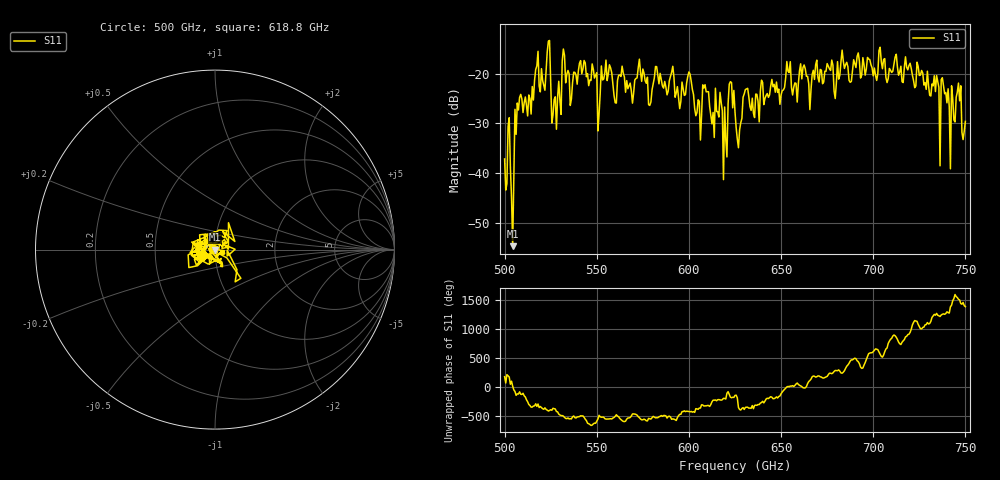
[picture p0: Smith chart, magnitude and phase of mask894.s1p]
!Created with skrf (http://scikit-rf.org).
# GHz S MA R 50.0
!freq magS11 angS11
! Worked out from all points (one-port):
!   401 points, 500 GHz to 750 GHz, reference 50 ohm
!   lowest |S11| = -54.7 dB at 504.4 GHz (marker M1), VSWR 1.00, Z = 50.2 + j0.0434 ohm
!   |S11| at or under -10 dB: start of sweep to end of sweep
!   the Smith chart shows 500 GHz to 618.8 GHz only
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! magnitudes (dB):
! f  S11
! 500 GHz  -37.2
! 504.4 GHz  -54.7
! 508.1 GHz  -24.8
! 523.8 GHz  -13.5
! 526.9 GHz  -25.2
! 531.2 GHz  -17.5
! 548.8 GHz  -20.9
! 550.6 GHz  -31.6
! 562.5 GHz  -20.3
! 590.6 GHz  -19.7
! 593.8 GHz  -22.6
! 600 GHz  -19.7
! 605.6 GHz  -25.6
! 608.8 GHz  -22.2
! 612.5 GHz  -30.1
! 616.9 GHz  -23.8
! 619.4 GHz  -26.7
! 623.1 GHz  -21.8
! 625 GHz  -27.7
! 626.9 GHz  -34.9
! 630.6 GHz  -23.2
! 656.2 GHz  -24.3
! 687.5 GHz  -21.8
! 718.8 GHz  -19.3
! 738.1 GHz  -22.4
! 743.1 GHz  -25.0
! 746.2 GHz  -21.9
! 750 GHz  -29.6
